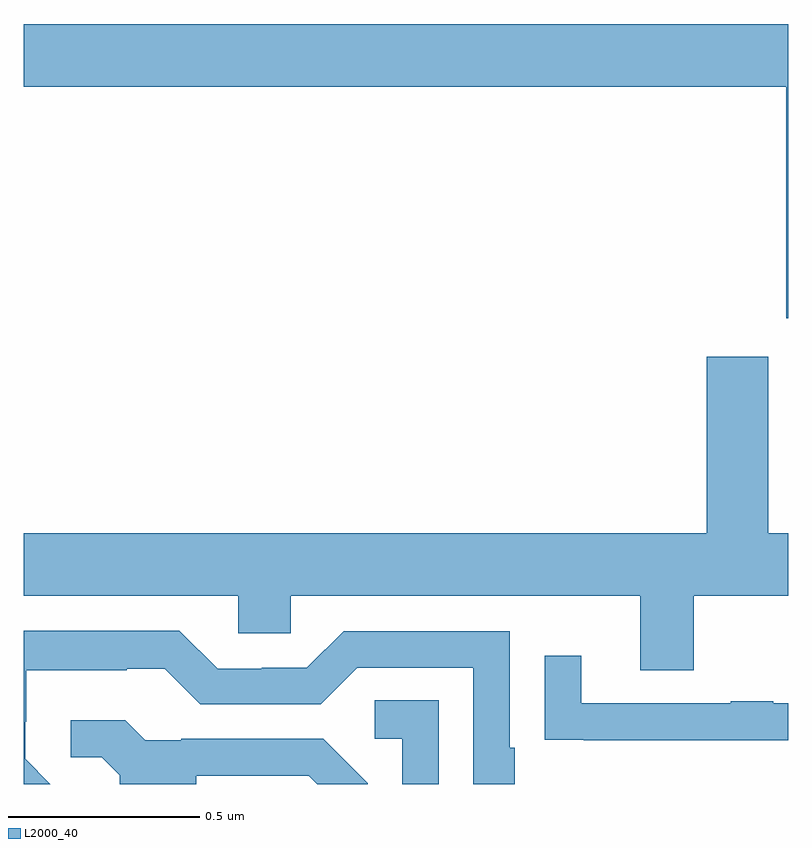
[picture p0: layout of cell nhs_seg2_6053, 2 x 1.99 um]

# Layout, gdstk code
import gdstk
lib = gdstk.Library(unit=1e-6, precision=1e-09)
def P(c, l, *ps):  # polygons
    for p in ps: c.add(gdstk.Polygon(p, *l))
L2000_40 = (2000, 40)

nhs_seg2_6053 = lib.new_cell('nhs_seg2_6053')
P(nhs_seg2_6053, L2000_40, [(188,659.788),(186,659.788),(186,659.624),(187.994,659.624),(187.994,659.018),(188,659.018)],
  [(187.753,658.292),(188,658.292),(188,658.456),(187.947,658.456),(187.947,658.918),(187.787,658.918),(187.787,658.456),(186,658.456),(186,658.292),(186.561,658.292),(186.561,658.194),(186.699,658.194),(186.699,658.292),(187.613,658.292),(187.613,658.098),(187.753,658.098)],
  [(186.004,657.866),(186.004,657.963),(186.006,657.963),(186.006,658.097),(186.269,658.097),(186.269,658.101),(186.369,658.101),(186.462,658.008),(186.777,658.008),(186.873,658.104),(187.176,658.104),(187.176,657.8),(187.285,657.8),(187.285,657.895),(187.272,657.895),(187.272,658.2),(186.837,658.2),(186.741,658.104),(186.623,658.104),(186.623,658.101),(186.507,658.101),(186.407,658.201),(186,658.201),(186,657.8),(186.07,657.8)],
  [(188,658.011),(187.961,658.011),(187.961,658.016),(187.849,658.016),(187.849,658.011),(187.459,658.011),(187.459,658.135),(187.363,658.135),(187.363,657.916),(187.465,657.916),(187.465,657.915),(188,657.915)],
  [(187.086,658.019),(186.918,658.019),(186.918,657.918),(186.99,657.918),(186.99,657.8),(187.086,657.8)],
  [(186.451,657.822),(186.746,657.822),(186.768,657.8),(186.9,657.8),(186.9,657.802),(186.784,657.918),(186.412,657.918),(186.412,657.915),(186.318,657.915),(186.266,657.967),(186.123,657.967),(186.123,657.87),(186.204,657.87),(186.251,657.823),(186.251,657.8),(186.451,657.8)])

lib.write_gds('nhs_seg2_6053.gds')
